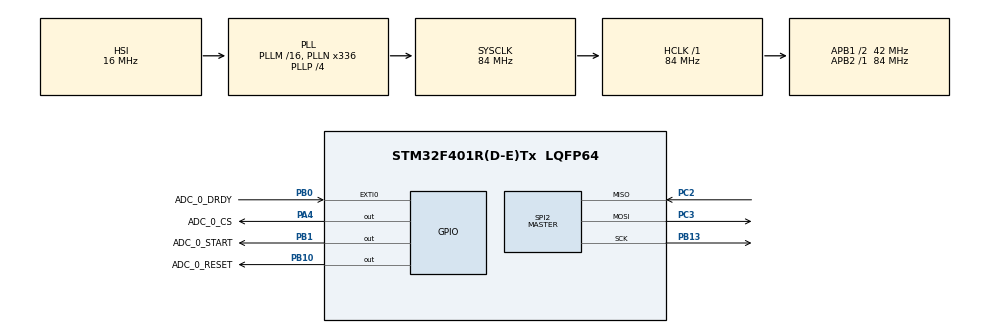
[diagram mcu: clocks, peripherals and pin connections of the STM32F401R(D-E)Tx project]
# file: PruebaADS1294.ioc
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Mcu.Family=STM32F4
Mcu.Name=STM32F401R(D-E)Tx
Mcu.Package=LQFP64
NVIC.EXTI0_IRQn=true\:0\:0\:false\:false\:true\:true\:true\:true
NVIC.PriorityGroup=NVIC_PRIORITYGROUP_0
PA4.GPIO_Label=ADC_0_CS
PA4.PinState=GPIO_PIN_SET
PA4.Signal=GPIO_Output
PB0.GPIO_Label=ADC_0_DRDY
PB0.GPIO_ModeDefaultEXTI=GPIO_MODE_IT_FALLING
PB0.GPIO_PuPd=GPIO_PULLUP
PB0.Signal=GPXTI0
PB1.GPIO_Label=ADC_0_START
PB1.Signal=GPIO_Output
PB10.GPIO_Label=ADC_0_RESET
PB10.PinState=GPIO_PIN_SET
PB10.Signal=GPIO_Output
PB13.Mode=Full_Duplex_Master
PB13.Signal=SPI2_SCK
PC2.Mode=Full_Duplex_Master
PC2.Signal=SPI2_MISO
PC3.Mode=Full_Duplex_Master
PC3.Signal=SPI2_MOSI
ProjectManager.HeapSize=0x200
ProjectManager.StackSize=0x400
ProjectManager.TargetToolchain=STM32CubeIDE
RCC.48MHZClocksFreq_Value=48000000
RCC.AHBFreq_Value=84000000
RCC.APB1CLKDivider=RCC_HCLK_DIV2
RCC.APB1Freq_Value=42000000
RCC.APB1TimFreq_Value=84000000
RCC.APB2Freq_Value=84000000
RCC.APB2TimFreq_Value=84000000
RCC.CortexFreq_Value=84000000
RCC.HCLKFreq_Value=84000000
RCC.HSE_VALUE=8000000
RCC.HSI_VALUE=16000000
RCC.LSE_VALUE=32768
RCC.PLLN=336
RCC.PLLP=RCC_PLLP_DIV4
RCC.PLLQ=7
RCC.SYSCLKFreq_VALUE=84000000
RCC.SYSCLKSource=RCC_SYSCLKSOURCE_PLLCLK
RCC.VCOOutputFreq_Value=336000000
SPI2.BaudRatePrescaler=SPI_BAUDRATEPRESCALER_8
SPI2.CLKPhase=SPI_PHASE_2EDGE
SPI2.Direction=SPI_DIRECTION_2LINES
SPI2.Mode=SPI_MODE_MASTER
SPI2.VirtualType=VM_MASTER
board=NUCLEO-F401RE

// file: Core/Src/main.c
/* USER CODE BEGIN Header */
/**
  ******************************************************************************
  * @file           : main.c
  * @brief          : Main program body
  ******************************************************************************
  * @attention
  *
  * Copyright (c) 2023 STMicroelectronics.
  * All rights reserved.
  *
  * This software is licensed under terms that can be found in the LICENSE file
  * in the root directory of this software component.
  * If no LICENSE file comes with this software, it is provided AS-IS.
  *
  ******************************************************************************
  */
/* USER CODE END Header */
#include "main.h"
#include "spi.h"
#include "gpio.h"

/* USER CODE BEGIN Includes */
#include <string.h>

#include "ads1294.h"
/* USER CODE END Includes */

/* USER CODE BEGIN PV */

//BORRAR LO QUE NO HAGA FALTA
uint8_t RxBuffer[27];
uint8_t ADC_ID;
uint8_t ADC_DRDY;
uint8_t ADC_Status;

/* USER CODE END PV */

void SystemClock_Config(void);

/* USER CODE BEGIN 0 */
void HAL_GPIO_EXTI_Callback(uint16_t GPIO_Pin)
{
	if (GPIO_Pin == ADC_0_DRDY_Pin)
	{
		ADC_DRDY = 1;
	}
}

void ads_init()
{
		//soft reset
		ads_send_command(RESET);

		//sdatac command
		ads_send_command(SDATAC);

		//write config 1
		ads_set_single_reg(CONFIG1_ADDR, 0x85);

		//write config 3
		ads_set_single_reg(CONFIG3_ADDR, 0xC8);

		ads_set_single_reg(CH1SET_ADDR, 0x91);
		ads_set_single_reg(CH2SET_ADDR, 0x00);
		ads_set_single_reg(CH3SET_ADDR, 0x91);
		ads_set_single_reg(CH4SET_ADDR, 0x91);

		uint8_t config1 = ads_get_single_rseg(CONFIG1_ADDR);
		uint8_t config3 = ads_get_single_rseg(CONFIG3_ADDR);

		uint8_t ch1set = ads_get_single_rseg(CH1SET_ADDR);
		uint8_t ch2set = ads_get_single_rseg(CH2SET_ADDR);
		uint8_t ch3set = ads_get_single_rseg(CH3SET_ADDR);
		uint8_t ch4set = ads_get_single_rseg(CH4SET_ADDR);

		return;

}

/* USER CODE END 0 */

uint32_t interrupt_count = 0;

int main(void)
{

  /* MCU Configuration--------------------------------------------------------*/

  /* Reset of all peripherals, Initializes the Flash interface and the Systick. */
  HAL_Init();

  /* Configure the system clock */
  SystemClock_Config();

  /* Initialize all configured peripherals */
  MX_GPIO_Init();
  MX_SPI2_Init();
  /* USER CODE BEGIN 2 */

  ads_set_spi_port(&hspi2);
  ads_hard_reset();
  ads_init();
  HAL_Delay(10);
  ads_set_start();
  HAL_Delay(10);
  ads_send_command(RDATAC);
  /* USER CODE END 2 */

  /* Infinite loop */
  /* USER CODE BEGIN WHILE */
  while (1)
  {

	  if (ADC_DRDY == 1)
	  {
		  ADC_DRDY = 0;
		  ADS1294_CS_L;
		  ADC_Status = HAL_SPI_Receive(&hspi2, RxBuffer, 27, HAL_MAX_DELAY);
		  ADS1294_CS_H;
		  interrupt_count++;

	  }

    /* USER CODE END WHILE */

  }
}

void SystemClock_Config(void)
{
  RCC_OscInitTypeDef RCC_OscInitStruct = {0};
  RCC_ClkInitTypeDef RCC_ClkInitStruct = {0};

  /** Configure the main internal regulator output voltage
  */
  __HAL_RCC_PWR_CLK_ENABLE();
  __HAL_PWR_VOLTAGESCALING_CONFIG(PWR_REGULATOR_VOLTAGE_SCALE2);

  /** Initializes the RCC Oscillators according to the specified parameters
  * in the RCC_OscInitTypeDef structure.
  */
  RCC_OscInitStruct.OscillatorType = RCC_OSCILLATORTYPE_HSI;
  RCC_OscInitStruct.HSIState = RCC_HSI_ON;
  RCC_OscInitStruct.HSICalibrationValue = RCC_HSICALIBRATION_DEFAULT;
  RCC_OscInitStruct.PLL.PLLState = RCC_PLL_ON;
  RCC_OscInitStruct.PLL.PLLSource = RCC_PLLSOURCE_HSI;
  RCC_OscInitStruct.PLL.PLLM = 16;
  RCC_OscInitStruct.PLL.PLLN = 336;
  RCC_OscInitStruct.PLL.PLLP = RCC_PLLP_DIV4;
  RCC_OscInitStruct.PLL.PLLQ = 7;
  if (HAL_RCC_OscConfig(&RCC_OscInitStruct) != HAL_OK)
  {
    Error_Handler();
  }

  /** Initializes the CPU, AHB and APB buses clocks
  */
  RCC_ClkInitStruct.ClockType = RCC_CLOCKTYPE_HCLK|RCC_CLOCKTYPE_SYSCLK
                              |RCC_CLOCKTYPE_PCLK1|RCC_CLOCKTYPE_PCLK2;
  RCC_ClkInitStruct.SYSCLKSource = RCC_SYSCLKSOURCE_PLLCLK;
  RCC_ClkInitStruct.AHBCLKDivider = RCC_SYSCLK_DIV1;
  RCC_ClkInitStruct.APB1CLKDivider = RCC_HCLK_DIV2;
  RCC_ClkInitStruct.APB2CLKDivider = RCC_HCLK_DIV1;

  if (HAL_RCC_ClockConfig(&RCC_ClkInitStruct, FLASH_LATENCY_2) != HAL_OK)
  {
    Error_Handler();
  }
}

void Error_Handler(void)
{
  __disable_irq();
  while (1)
  {
  }
}
